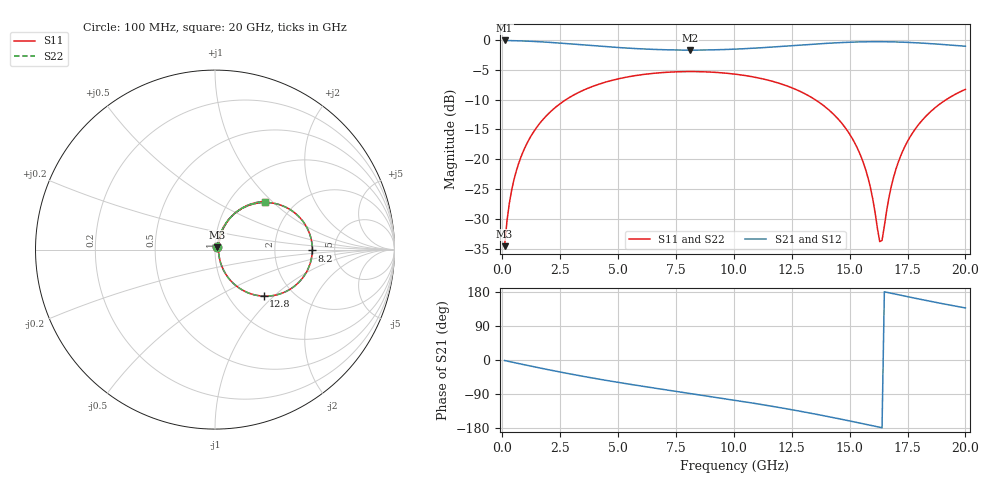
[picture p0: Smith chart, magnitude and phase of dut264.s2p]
! Touchstone file exported from HFSS 2026.1.0
!  File:  C:/ffzhzh/LocalFiles/Ansys_Project_Files/temp_train_TSV_RDL_264_1783069764_17544.aedt
!  Generated:  05:20:37 PM Jul  3, 2026
!  Design:  TSV_RDL
!  Project:  temp_train_TSV_RDL_264_1783069764_17544
! Variables:
!  h_bsmrdl = 4.9um
!  h_ox = 20um
!  h_rdl = 5um
!  h_sub = 72.66um
!  h_tmrdl = 2.99um
!  h_tsv = 72.66um
!  h_via = 3um
!  l_bsmrdl = 695.84um
!  l_sub = 3676.82um
!  l_tmrdl = 260.98um
!  m_sub = 200um
!  pitch = 59.92um
!  r_tsv = 14.95um
!  s_tmrdl = 10um
!  w_bsmrdl = 21.07um
!  w_sub = 500um
!  w_tmrdl = 27.39um
!  x_tsv_center1 = 274.675um
!  x_tsv_center2 = 991.585um
!  x_tsv_center3 = 1279.955um
!  x_tsv_center4 = 1996.865um
!  x_tsv_center5 = 2285.235um
!  x_tsv_center6 = 3002.145um
# GHz S MA R 50.000000
! Terminal data exported
! Port[1] = TM_RDL1_1_T1
! Port[2] = TM_RDL5_1_T1
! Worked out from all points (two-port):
!   200 points, 100 MHz to 20 GHz, reference 50 ohm
!   highest |S21| = -0.11 dB at 100 MHz (marker M1); lowest = -1.7 dB at 8.1 GHz (marker M2)
!   |S21| within 3 dB of the highest: start of sweep to end of sweep
!   lowest |S11| = -34.5 dB at 100 MHz (marker M3), VSWR 1.04, Z = 51.3 + j1.38 ohm
!   |S11| at or under -10 dB: start of sweep to 2.755 GHz; 13.51 GHz to 19.17 GHz (5.668 GHz wide, 34.7 % of centre)
!   |S22| runs from -34.5 to -5.3 dB; largest |S21 - S12| = 1.9e-14
!   S11 on the Smith chart (normalised r, x): 100 MHz: 1.03, +0.03; 8.2 GHz: 3.37, -0.04; 12.8 GHz: 1.44, -0.87; 20 GHz: 1.43, +0.90
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0.1  0.0188 45.8  0.9871 -1.4  0.9871 -1.4  0.0188 45.8
! Gamma 0 0 0 0
! Port Impedance 50 0 50 0
0.3  0.04241 66.7  0.9852 -4.0  0.9852 -4.0  0.04241 66.7
0.5  0.06704 70.5  0.983 -6.7  0.983 -6.7  0.06704 70.5
1.1  0.1401 68.9  0.974 -14.4  0.974 -14.4  0.1401 68.9
2.1  0.2523 59.0  0.9499 -26.9  0.9499 -26.9  0.2523 59.0
3.5  0.3787 43.9  0.906 -43.2  0.906 -43.2  0.3787 43.9
6.8  0.5298 12.0  0.8276 -76.2  0.8276 -76.2  0.5298 12.0
8.1  0.5422 0.4  0.8198 -88.2  0.8198 -88.2  0.5422 0.4
8.2  0.5422 -0.5  0.8198 -89.1  0.8198 -89.1  0.5422 -0.5
10.1  0.5146 -17.5  0.836 -106.7  0.836 -106.7  0.5146 -17.5
12.8  0.3751 -43.7  0.9008 -134.5  0.9008 -134.5  0.3751 -43.8
13.4  0.3257 -50.0  0.9177 -141.3  0.9177 -141.3  0.3257 -50.0
14.6  0.2071 -62.1  0.9471 -155.8  0.9471 -155.8  0.2071 -62.2
15.4  0.1164 -67.7  0.9596 -165.8  0.9596 -165.8  0.1164 -67.8
15.9  0.05791 -63.7  0.9633 -172.3  0.9633 -172.3  0.05782 -64.0
16.3  0.02053 -13.8  0.9638 -177.4  0.9638 -177.4  0.02024 -14.1
16.4  0.02102 19.3  0.9635 -178.7  0.9635 -178.7  0.02073 19.6
16.7  0.04812 61.8  0.9619 177.4  0.9619 177.4  0.04797 62.1
17.1  0.09455 69.0  0.9578 172.2  0.9578 172.2  0.09447 69.2
17.8  0.1756 65.9  0.9457 163.4  0.9457 163.4  0.1755 66.0
18.7  0.2712 57.4  0.9229 152.3  0.9229 152.3  0.2711 57.5
20  0.3849 44.1  0.8831 137.4  0.8831 137.4  0.3848 44.1
